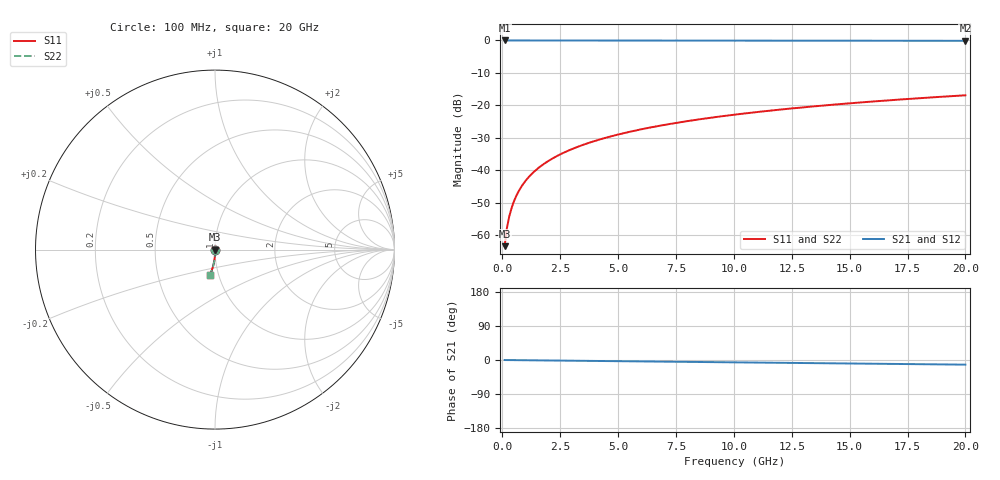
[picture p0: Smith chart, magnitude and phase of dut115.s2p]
! Touchstone file exported from HFSS 2026.1.0
!  File:  C:/ffzhzh/LocalFiles/Ansys_Project_Files/temp_train_TSV_115_1782989800_45328.aedt
!  Generated:  06:58:05 PM Jul  2, 2026
!  Design:  TSV
!  Project:  temp_train_TSV_115_1782989800_45328
! Variables:
!  h_bsmrdl = 2um
!  h_ox = 20um
!  h_rdl = 5um
!  h_sub = 99.82um
!  h_tmrdl = 5um
!  h_tsv = 99.82um
!  h_via = 3um
!  l_bsmrdl = 300um
!  l_sub = 414.98um
!  l_tmrdl = 200um
!  m_sub = 200um
!  pitch = 17.53um
!  r_tsv = 7.49um
!  s_tmrdl = 10um
!  w_bsmrdl = 18um
!  w_sub = 500um
!  w_tmrdl = 12um
!  x_tsv_center1 = 206um
!  x_tsv_center2 = 524um
!  x_tsv_center3 = 736um
!  x_tsv_center4 = 1054um
!  x_tsv_center5 = 1266um
!  x_tsv_center6 = 1584um
# GHz S MA R 50.000000
! Terminal data exported
! Port[1] = TSV1_1_T1
! Port[2] = TSV1_1_T2
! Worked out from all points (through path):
!   200 points, 100 MHz to 20 GHz, reference 50 ohm
!   highest |S21| = 0.00 dB at 100 MHz (marker M1); lowest = -0.1 dB at 20 GHz (marker M2)
!   group delay of S21, straight-line fit = 1.7 ps
!   lowest |S11| = -63.4 dB at 100 MHz (marker M3), VSWR 1.00, Z = 50 - j0.0619 ohm
!   |S11| at or under -10 dB: start of sweep to end of sweep
!   |S22| runs from -63.4 to -16.9 dB; largest |S21 - S12| = 2.7e-15
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0.1  0.0006756 -66.3  0.9997 -0.1  0.9997 -0.1  0.0006756 -66.3
! Gamma 0 0 0 0
! Port Impedance 50 0 50 0
0.2  0.001287 -76.1  0.9997 -0.1  0.9997 -0.1  0.001287 -76.1
0.3  0.001935 -79.3  0.9996 -0.2  0.9996 -0.2  0.001935 -79.3
0.4  0.002605 -80.9  0.9996 -0.3  0.9996 -0.3  0.002605 -80.9
0.5  0.003293 -81.9  0.9995 -0.3  0.9995 -0.3  0.003293 -81.9
0.7  0.004698 -83.4  0.9994 -0.5  0.9994 -0.5  0.004698 -83.4
0.8  0.005408 -84.0  0.9994 -0.5  0.9994 -0.5  0.005408 -84.0
1  0.006833 -84.9  0.9993 -0.6  0.9993 -0.6  0.006833 -84.9
1.2  0.008261 -85.7  0.9992 -0.8  0.9992 -0.8  0.008261 -85.7
1.4  0.009688 -86.3  0.9992 -0.9  0.9992 -0.9  0.009688 -86.3
1.7  0.01183 -87.1  0.9991 -1.1  0.9991 -1.1  0.01183 -87.1
2  0.01397 -87.6  0.999 -1.3  0.999 -1.3  0.01397 -87.6
2.7  0.01897 -88.7  0.9988 -1.7  0.9988 -1.7  0.01897 -88.7
3.5  0.0247 -89.5  0.9985 -2.2  0.9985 -2.2  0.0247 -89.5
4.2  0.02973 -90.2  0.9983 -2.6  0.9983 -2.6  0.02973 -90.2
5  0.0355 -90.9  0.998 -3.1  0.998 -3.1  0.0355 -90.9
6.8  0.0485 -92.3  0.9971 -4.2  0.9971 -4.2  0.0485 -92.3
8.3  0.05935 -93.4  0.9964 -5.1  0.9964 -5.1  0.05935 -93.3
10.1  0.07234 -94.6  0.9953 -6.2  0.9953 -6.2  0.07234 -94.6
13.4  0.09604 -96.8  0.993 -8.3  0.993 -8.3  0.09604 -96.8
16.7  0.1195 -99.0  0.9901 -10.3  0.9901 -10.3  0.1195 -99.0
20  0.1428 -101.1  0.9867 -12.2  0.9867 -12.2  0.1428 -101.1
